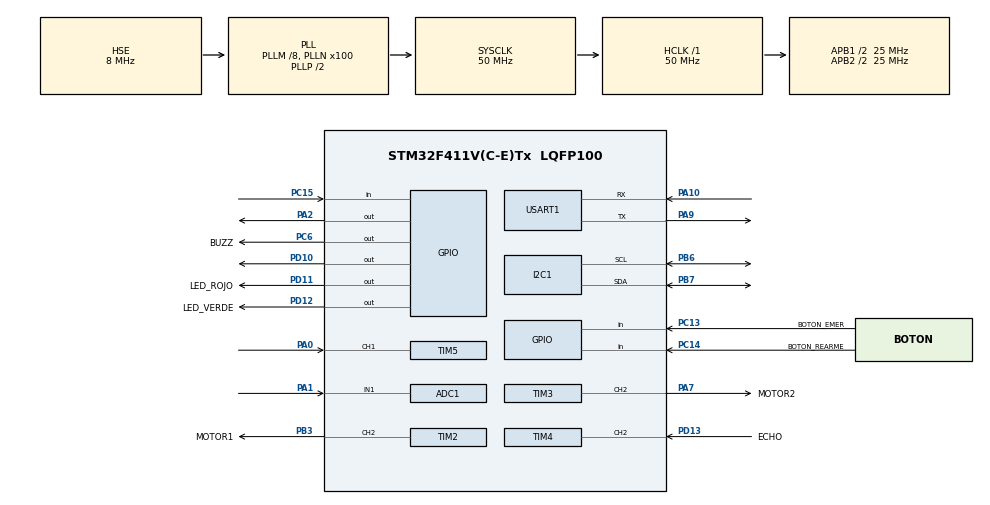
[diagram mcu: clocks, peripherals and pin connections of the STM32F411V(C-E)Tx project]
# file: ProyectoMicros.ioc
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ADC1.Channel-0\#ChannelRegularConversion=ADC_CHANNEL_1
ADC1.Channel-3\#ChannelRegularConversion=ADC_CHANNEL_TEMPSENSOR
ADC1.DiscontinuousConvMode=ENABLE
ADC1.InjNumberOfConversion=0
ADC1.NbrOfConversion=2
ADC1.NbrOfConversionFlag=1
ADC1.Rank-0\#ChannelRegularConversion=1
ADC1.Rank-3\#ChannelRegularConversion=2
ADC1.SamplingTime-0\#ChannelRegularConversion=ADC_SAMPLETIME_3CYCLES
ADC1.SamplingTime-3\#ChannelRegularConversion=ADC_SAMPLETIME_3CYCLES
ADC1.master=1
Mcu.Family=STM32F4
Mcu.Name=STM32F411V(C-E)Tx
Mcu.Package=LQFP100
Mcu.UserConstants=ADC1,$$_ADC1_IP_HANDLE_$$
NVIC.PriorityGroup=NVIC_PRIORITYGROUP_0
NVIC.TIM4_IRQn=true\:0\:0\:false\:false\:true\:true\:true\:true
NVIC.TIM5_IRQn=true\:0\:0\:false\:false\:true\:true\:true\:true
PA0-WKUP.Signal=S_TIM5_CH1
PA1.Signal=ADCx_IN1
PA10.Mode=Asynchronous
PA10.Signal=USART1_RX
PA13.Mode=Serial_Wire
PA13.Signal=SYS_JTMS-SWDIO
PA14.Mode=Serial_Wire
PA14.Signal=SYS_JTCK-SWCLK
PA2.Signal=GPIO_Output
PA7.GPIO_Label=MOTOR2
PA7.Signal=S_TIM3_CH2
PA9.Mode=Asynchronous
PA9.Signal=USART1_TX
PB3.GPIO_Label=MOTOR1
PB3.Signal=S_TIM2_CH2
PB6.Mode=I2C
PB6.Signal=I2C1_SCL
PB7.Mode=I2C
PB7.Signal=I2C1_SDA
PC13-ANTI_TAMP.GPIO_Label=BOTON_EMER
PC13-ANTI_TAMP.GPIO_PuPd=GPIO_PULLUP
PC13-ANTI_TAMP.Signal=GPIO_Input
PC14-OSC32_IN.GPIO_Label=BOTON_REARME
PC14-OSC32_IN.GPIO_PuPd=GPIO_PULLUP
PC14-OSC32_IN.Signal=GPIO_Input
PC15-OSC32_OUT.GPIO_PuPd=GPIO_PULLUP
PC15-OSC32_OUT.Signal=GPIO_Input
PC6.GPIO_Label=BUZZ
PC6.Signal=GPIO_Output
PD10.Signal=GPIO_Output
PD11.GPIO_Label=LED_ROJO
PD11.Signal=GPIO_Output
PD12.GPIO_Label=LED_VERDE
PD12.Signal=GPIO_Output
PD13.GPIO_Label=ECHO
PD13.Signal=S_TIM4_CH2
PH0\ -\ OSC_IN.Mode=HSE-External-Oscillator
PH0\ -\ OSC_IN.Signal=RCC_OSC_IN
PH1\ -\ OSC_OUT.Mode=HSE-External-Oscillator
PH1\ -\ OSC_OUT.Signal=RCC_OSC_OUT
ProjectManager.HeapSize=0x200
ProjectManager.StackSize=0x400
ProjectManager.TargetToolchain=STM32CubeIDE
RCC.48MHZClocksFreq_Value=12500000
RCC.AHBFreq_Value=50000000
RCC.APB1CLKDivider=RCC_HCLK_DIV2
RCC.APB1Freq_Value=25000000
RCC.APB1TimFreq_Value=50000000
RCC.APB2CLKDivider=RCC_HCLK_DIV2
RCC.APB2Freq_Value=25000000
RCC.APB2TimFreq_Value=50000000
RCC.CortexFreq_Value=50000000
RCC.HCLKFreq_Value=50000000
RCC.HSE_VALUE=8000000
RCC.HSI_VALUE=16000000
RCC.LSE_VALUE=32768
RCC.PLLI2SM=5
RCC.PLLI2SN=200
RCC.PLLM=8
RCC.PLLN=100
RCC.PLLQ=8
RCC.PLLSourceVirtual=RCC_PLLSOURCE_HSE
RCC.SYSCLKFreq_VALUE=50000000
RCC.SYSCLKSource=RCC_SYSCLKSOURCE_PLLCLK
RCC.VCOOutputFreq_Value=100000000
SH.ADCx_IN1.0=ADC1_IN1,IN1
SH.S_TIM2_CH2.0=TIM2_CH2,PWM Generation2 CH2
SH.S_TIM3_CH2.0=TIM3_CH2,PWM Generation2 CH2
SH.S_TIM4_CH2.0=TIM4_CH2,Input_Capture2_from_TI2
SH.S_TIM5_CH1.0=TIM5_CH1,Input_Capture1_from_TI1
TIM1.Prescaler=100-1
TIM2.Channel-PWM\ Generation2\ CH2=TIM_CHANNEL_2
TIM2.Period=10000-1
TIM2.Prescaler=100-1
TIM3.Channel-PWM\ Generation2\ CH2=TIM_CHANNEL_2
TIM3.Period=10000-1
TIM3.Prescaler=100-1
TIM4.Channel-Input_Capture2_from_TI2=TIM_CHANNEL_2
TIM4.ICFilter_CH2=4
TIM4.Prescaler=100-1
TIM5.Channel-Input_Capture1_from_TI1=TIM_CHANNEL_1
TIM5.ICFilter_CH1=4
TIM5.Period=65535
TIM5.Prescaler=100-1
USART1.VirtualMode=VM_ASYNC
VP_ADC1_TempSens_Input.Mode=IN-TempSens
VP_TIM1_VS_ClockSourceINT.Mode=Internal
VP_TIM2_VS_ClockSourceINT.Mode=Internal
VP_TIM3_VS_ClockSourceINT.Mode=Internal
VP_TIM4_VS_ClockSourceINT.Mode=Internal
VP_TIM5_VS_ClockSourceINT.Mode=Internal
board=STM32F411E-DISCO

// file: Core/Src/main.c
/* USER CODE BEGIN Header */
/**
  ******************************************************************************
  * @file           : main.c
  * @brief          : Main program body
  ******************************************************************************
  * @attention
  *
  * Copyright (c) 2025 STMicroelectronics.
  * All rights reserved.
  *
  * This software is licensed under terms that can be found in the LICENSE file
  * in the root directory of this software component.
  * If no LICENSE file comes with this software, it is provided AS-IS.
  *
  ******************************************************************************
  */
/* USER CODE END Header */
#include "main.h"

/* USER CODE BEGIN PTD */
typedef enum {
    WAITING_BUTTON,
	lavando,
    MOVING_MOTOR_2
} SystemState;
/* USER CODE END PTD */

/* USER CODE BEGIN PD */
// Definiciones de pines
#define BUTTON_PIN GPIO_PIN_15
#define BUTTON_PORT GPIOC

#define LED_RED_PIN GPIO_PIN_11
#define LED_GREEN_PIN GPIO_PIN_12
#define LED_PORT GPIOD

#define MOTOR1_PIN GPIO_PIN_3
#define MOTOR2_PIN GPIO_PIN_7
#define MOTOR1_PORT GPIOB
#define MOTOR2_PORT GPIOA

#define ECHO2_PIN GPIO_PIN_1
#define TRIG2_PIN GPIO_PIN_2
#define ECHO_PIN GPIO_PIN_13
#define TRIG_PIN GPIO_PIN_10
#define ULTRASONIC_PORT GPIOD
#define ULTRASONIC_PORT2 GPIOA

#define SERVO_MIN 500  // Pulso mínimo (0°) en microsegundos
#define SERVO_MAX 2500 // Pulso máximo (180°) en microsegundos
// Variables de estado
int buttonPressed = 0;
int presenceDetected = 0;
/* USER CODE END PD */

ADC_HandleTypeDef hadc1;

I2C_HandleTypeDef hi2c1;

TIM_HandleTypeDef htim1;
TIM_HandleTypeDef htim2;
TIM_HandleTypeDef htim3;
TIM_HandleTypeDef htim4;
TIM_HandleTypeDef htim5;

UART_HandleTypeDef huart1;

void SystemClock_Config(void);
static void MX_GPIO_Init(void);
static void MX_TIM2_Init(void);
static void MX_TIM3_Init(void);
static void MX_TIM4_Init(void);
static void MX_TIM5_Init(void);
static void MX_TIM1_Init(void);
static void MX_I2C1_Init(void);
static void MX_ADC1_Init(void);
static void MX_USART1_UART_Init(void);
/* USER CODE BEGIN PFP */
void delayMicroseconds(uint16_t microseconds) {
    __HAL_TIM_SET_COUNTER(&htim4, 0); // Reinicia el contador
    while (__HAL_TIM_GET_COUNTER(&htim4) < microseconds); // Espera
}

float readUltrasonicDistance1(void) {
    // Emitir pulso TRIG
	    uint32_t startTime = 0, endTime = 0;
	    HAL_TIM_Base_Start(&htim4);
	    // Genera el pulso TRIG (10µs)
	    HAL_GPIO_WritePin(ULTRASONIC_PORT, TRIG_PIN, GPIO_PIN_SET);
	    delayMicroseconds(10);
	    HAL_GPIO_WritePin(ULTRASONIC_PORT, TRIG_PIN, GPIO_PIN_RESET);

	    // Espera el inicio del pulso ECHO
	    while (HAL_GPIO_ReadPin(ULTRASONIC_PORT, ECHO_PIN) == GPIO_PIN_RESET);

	    startTime = __HAL_TIM_GET_COUNTER(&htim4); // Marca el tiempo inicial

	    // Espera el final del pulso ECHO
	    while (HAL_GPIO_ReadPin(ULTRASONIC_PORT, ECHO_PIN) == GPIO_PIN_SET);

	    endTime = __HAL_TIM_GET_COUNTER(&htim4); // Marca el tiempo final

	    // Calcula la duración del pulso (en microsegundos)
	    uint32_t duration = endTime - startTime;

	    // Calcula la distancia en cm (velocidad del sonido: 34300 cm/s)
	    return (duration * 0.0343) / 2;
}
float readUltrasonicDistance2(void) {
    // Emitir pulso TRIG
	    uint32_t startTime = 0, endTime = 0;
	    HAL_TIM_Base_Start(&htim5);
	    // Genera el pulso TRIG (10µs)
	    HAL_GPIO_WritePin(ULTRASONIC_PORT2, TRIG2_PIN, GPIO_PIN_SET);
	    delayMicroseconds(10);
	    HAL_GPIO_WritePin(ULTRASONIC_PORT2, TRIG2_PIN, GPIO_PIN_RESET);

	    // Espera el inicio del pulso ECHO
	    while (HAL_GPIO_ReadPin(ULTRASONIC_PORT2, ECHO2_PIN) == GPIO_PIN_RESET);

	    startTime = __HAL_TIM_GET_COUNTER(&htim5); // Marca el tiempo inicial

	    // Espera el final del pulso ECHO
	    while (HAL_GPIO_ReadPin(ULTRASONIC_PORT2, ECHO2_PIN) == GPIO_PIN_SET);

	    endTime = __HAL_TIM_GET_COUNTER(&htim5); // Marca el tiempo final

	    // Calcula la duración del pulso (en microsegundos)
	    uint32_t duration = endTime - startTime;

	    // Calcula la distancia en cm (velocidad del sonido: 34300 cm/s)
	    return (duration * 0.0343) / 2;
}

void moveMotor1(void) {

	 // __HAL_TIM_SET_COMPARE(&htim2, TIM_CHANNEL_2, SERVO_MIN);
	  __HAL_TIM_SET_COMPARE(&htim2, TIM_CHANNEL_2, 500);
	    HAL_Delay(5000);  // Tiempo para subir la barrera
	   __HAL_TIM_SET_COMPARE(&htim2, TIM_CHANNEL_2, 2000);

}

void moveMotor2(void) {
	   __HAL_TIM_SET_COMPARE(&htim3, TIM_CHANNEL_2, 500);
	     HAL_Delay(5000);  // Tiempo para subir la barrera
	  __HAL_TIM_SET_COMPARE(&htim3, TIM_CHANNEL_2, 2000);
}

void toggleLEDs(int presenceDetected) {
    if (presenceDetected) {
        HAL_GPIO_WritePin(LED_PORT, LED_RED_PIN, GPIO_PIN_SET); // Apagar LED rojo
        HAL_GPIO_WritePin(LED_PORT, LED_GREEN_PIN, GPIO_PIN_RESET); // Encender LED verde
    } else {
        HAL_GPIO_WritePin(LED_PORT, LED_RED_PIN, GPIO_PIN_RESET);   // Encender LED rojo
        HAL_GPIO_WritePin(LED_PORT, LED_GREEN_PIN, GPIO_PIN_SET); // Apagar LED verde
    }
}

void process() {
    float distance;
    float distance2;

    // Leer sensores solo una vez por iteración
    distance = readUltrasonicDistance1();
    //pirState = HAL_GPIO_ReadPin(GPIOA, GPIO_PIN_5); // Leer PIR

    // Manejo de estados
    switch (currentState) {
        case WAITING_BUTTON:
            // Encender LED rojo inicialmente
            toggleLEDs(1);

            // Verificar botón y distancia del ultrasonido
            if (distance > 10.0 && HAL_GPIO_ReadPin(GPIOC, GPIO_PIN_15) == GPIO_PIN_RESET) {
                HAL_TIM_PWM_Start(&htim2, TIM_CHANNEL_2); // Iniciar motor 1
                toggleLEDs(0);  // Apagar LED rojo
                moveMotor1();   // Mover motor 1
                currentState = lavando; // Cambiar al estado de lavado
            }
            break;

        case lavando:
            // Esperar simulación de lavado
            HAL_Delay(7000); // Simula tiempo de lavado
            toggleLEDs(1);  // Volver a encender LED rojo
            currentState = MOVING_MOTOR_2; // Cambiar al estado de mover motor 2
            break;

        case MOVING_MOTOR_2:
        	distance2 = readUltrasonicDistance2();
        	if (distance2 <7.0){
           //if (HAL_GPIO_ReadPin(GPIOA, GPIO_PIN_5) == GPIO_PIN_SET) { // Si el PIR detecta movimiento
                HAL_TIM_PWM_Start(&htim3, TIM_CHANNEL_2); // Iniciar motor 2
                moveMotor2(); // Mover motor 2
                currentState = WAITING_BUTTON; // Volver al estado inicial
            }
            break;

        default:
            currentState = WAITING_BUTTON; // Por seguridad, reiniciar estado
            break;
    }
}
/*
void process() {
    float distance = readUltrasonicDistance();
    toggleLEDs(1);
switch(currentState){

    case WAITING_BUTTON:
     toggleLEDs(1);
    if (distance > 10.0 ){
    	if(HAL_GPIO_ReadPin(GPIOC, GPIO_PIN_15) == GPIO_PIN_RESET){
    	 HAL_TIM_PWM_Start(&htim2, TIM_CHANNEL_2);
    	 toggleLEDs(0);
    	 moveMotor1();
    	 currentState = lavando;
    	}
    }

    else{
    	toggleLEDs(0);

    }
break;

    case lavando:
    	HAL_Delay(7000);
    	 currentState = MOVING_MOTOR_2;
    	break;

    case  MOVING_MOTOR_2:
    	if (HAL_GPIO_ReadPin(GPIOA, GPIO_PIN_5) == GPIO_PIN_SET){
    		    	HAL_TIM_PWM_Start(&htim3, TIM_CHANNEL_2);
    		        moveMotor2();  // Abrir el túnel

    		        currentState = WAITING_BUTTON;

    		   }

    	break;
}
}
*/

int main(void) {
    HAL_Init();
    SystemClock_Config();
    MX_GPIO_Init();

    ////////////
      MX_TIM2_Init();
      MX_TIM3_Init();
      MX_TIM4_Init();

    while (1) {
        process();

        HAL_Delay(100);  // Retraso para evitar que el ciclo sea demasiado rápido
    }
}

/* USER CODE END PFP */

int main(void)
{

  /* MCU Configuration--------------------------------------------------------*/

  /* Reset of all peripherals, Initializes the Flash interface and the Systick. */
  HAL_Init();

  /* Configure the system clock */
  SystemClock_Config();

  /* Initialize all configured peripherals */
  MX_GPIO_Init();
  MX_TIM2_Init();
  MX_TIM3_Init();
  MX_TIM4_Init();
  MX_TIM5_Init();
  MX_TIM1_Init();
  MX_I2C1_Init();
  MX_ADC1_Init();
  MX_USART1_UART_Init();

  /* Infinite loop */
  while (1)
  {

  }
}

void SystemClock_Config(void)
{
  RCC_OscInitTypeDef RCC_OscInitStruct = {0};
  RCC_ClkInitTypeDef RCC_ClkInitStruct = {0};

  /** Configure the main internal regulator output voltage
  */
  __HAL_RCC_PWR_CLK_ENABLE();
  __HAL_PWR_VOLTAGESCALING_CONFIG(PWR_REGULATOR_VOLTAGE_SCALE1);

  /** Initializes the RCC Oscillators according to the specified parameters
  * in the RCC_OscInitTypeDef structure.
  */
  RCC_OscInitStruct.OscillatorType = RCC_OSCILLATORTYPE_HSE;
  RCC_OscInitStruct.HSEState = RCC_HSE_ON;
  RCC_OscInitStruct.PLL.PLLState = RCC_PLL_ON;
  RCC_OscInitStruct.PLL.PLLSource = RCC_PLLSOURCE_HSE;
  RCC_OscInitStruct.PLL.PLLM = 8;
  RCC_OscInitStruct.PLL.PLLN = 100;
  RCC_OscInitStruct.PLL.PLLP = RCC_PLLP_DIV2;
  RCC_OscInitStruct.PLL.PLLQ = 8;
  if (HAL_RCC_OscConfig(&RCC_OscInitStruct) != HAL_OK)
  {
    Error_Handler();
  }

  /** Initializes the CPU, AHB and APB buses clocks
  */
  RCC_ClkInitStruct.ClockType = RCC_CLOCKTYPE_HCLK|RCC_CLOCKTYPE_SYSCLK
                              |RCC_CLOCKTYPE_PCLK1|RCC_CLOCKTYPE_PCLK2;
  RCC_ClkInitStruct.SYSCLKSource = RCC_SYSCLKSOURCE_PLLCLK;
  RCC_ClkInitStruct.AHBCLKDivider = RCC_SYSCLK_DIV1;
  RCC_ClkInitStruct.APB1CLKDivider = RCC_HCLK_DIV2;
  RCC_ClkInitStruct.APB2CLKDivider = RCC_HCLK_DIV2;

  if (HAL_RCC_ClockConfig(&RCC_ClkInitStruct, FLASH_LATENCY_1) != HAL_OK)
  {
    Error_Handler();
  }
}

static void MX_ADC1_Init(void)
{

  ADC_ChannelConfTypeDef sConfig = {0};

  /** Configure the global features of the ADC (Clock, Resolution, Data Alignment and number of conversion)
  */
  hadc1.Instance = ADC1;
  hadc1.Init.ClockPrescaler = ADC_CLOCK_SYNC_PCLK_DIV2;
  hadc1.Init.Resolution = ADC_RESOLUTION_12B;
  hadc1.Init.ScanConvMode = ENABLE;
  hadc1.Init.ContinuousConvMode = DISABLE;
  hadc1.Init.DiscontinuousConvMode = ENABLE;
  hadc1.Init.NbrOfDiscConversion = 1;
  hadc1.Init.ExternalTrigConvEdge = ADC_EXTERNALTRIGCONVEDGE_NONE;
  hadc1.Init.ExternalTrigConv = ADC_SOFTWARE_START;
  hadc1.Init.DataAlign = ADC_DATAALIGN_RIGHT;
  hadc1.Init.NbrOfConversion = 2;
  hadc1.Init.DMAContinuousRequests = DISABLE;
  hadc1.Init.EOCSelection = ADC_EOC_SINGLE_CONV;
  if (HAL_ADC_Init(&hadc1) != HAL_OK)
  {
    Error_Handler();
  }

  /** Configure for the selected ADC regular channel its corresponding rank in the sequencer and its sample time.
  */
  sConfig.Channel = ADC_CHANNEL_1;
  sConfig.Rank = 1;
  sConfig.SamplingTime = ADC_SAMPLETIME_3CYCLES;
  if (HAL_ADC_ConfigChannel(&hadc1, &sConfig) != HAL_OK)
  {
    Error_Handler();
  }

  /** Configure for the selected ADC regular channel its corresponding rank in the sequencer and its sample time.
  */
  sConfig.Channel = ADC_CHANNEL_TEMPSENSOR;
  sConfig.Rank = 2;
  if (HAL_ADC_ConfigChannel(&hadc1, &sConfig) != HAL_OK)
  {
    Error_Handler();
  }

}

static void MX_I2C1_Init(void)
{

  hi2c1.Instance = I2C1;
  hi2c1.Init.ClockSpeed = 100000;
  hi2c1.Init.DutyCycle = I2C_DUTYCYCLE_2;
  hi2c1.Init.OwnAddress1 = 0;
  hi2c1.Init.AddressingMode = I2C_ADDRESSINGMODE_7BIT;
  hi2c1.Init.DualAddressMode = I2C_DUALADDRESS_DISABLE;
  hi2c1.Init.OwnAddress2 = 0;
  hi2c1.Init.GeneralCallMode = I2C_GENERALCALL_DISABLE;
  hi2c1.Init.NoStretchMode = I2C_NOSTRETCH_DISABLE;
  if (HAL_I2C_Init(&hi2c1) != HAL_OK)
  {
    Error_Handler();
  }

}

static void MX_TIM1_Init(void)
{

  TIM_ClockConfigTypeDef sClockSourceConfig = {0};
  TIM_MasterConfigTypeDef sMasterConfig = {0};

  htim1.Instance = TIM1;
  htim1.Init.Prescaler = 100-1;
  htim1.Init.CounterMode = TIM_COUNTERMODE_UP;
  htim1.Init.Period = 65535;
  htim1.Init.ClockDivision = TIM_CLOCKDIVISION_DIV1;
  htim1.Init.RepetitionCounter = 0;
  htim1.Init.AutoReloadPreload = TIM_AUTORELOAD_PRELOAD_DISABLE;
  if (HAL_TIM_Base_Init(&htim1) != HAL_OK)
  {
    Error_Handler();
  }
  sClockSourceConfig.ClockSource = TIM_CLOCKSOURCE_INTERNAL;
  if (HAL_TIM_ConfigClockSource(&htim1, &sClockSourceConfig) != HAL_OK)
  {
    Error_Handler();
  }
  sMasterConfig.MasterOutputTrigger = TIM_TRGO_RESET;
  sMasterConfig.MasterSlaveMode = TIM_MASTERSLAVEMODE_DISABLE;
  if (HAL_TIMEx_MasterConfigSynchronization(&htim1, &sMasterConfig) != HAL_OK)
  {
    Error_Handler();
  }

}

static void MX_TIM2_Init(void)
{

  TIM_ClockConfigTypeDef sClockSourceConfig = {0};
  TIM_MasterConfigTypeDef sMasterConfig = {0};
  TIM_OC_InitTypeDef sConfigOC = {0};

  htim2.Instance = TIM2;
  htim2.Init.Prescaler = 100-1;
  htim2.Init.CounterMode = TIM_COUNTERMODE_UP;
  htim2.Init.Period = 10000-1;
  htim2.Init.ClockDivision = TIM_CLOCKDIVISION_DIV1;
  htim2.Init.AutoReloadPreload = TIM_AUTORELOAD_PRELOAD_DISABLE;
  if (HAL_TIM_Base_Init(&htim2) != HAL_OK)
  {
    Error_Handler();
  }
  sClockSourceConfig.ClockSource = TIM_CLOCKSOURCE_INTERNAL;
  if (HAL_TIM_ConfigClockSource(&htim2, &sClockSourceConfig) != HAL_OK)
  {
    Error_Handler();
  }
  if (HAL_TIM_PWM_Init(&htim2) != HAL_OK)
  {
    Error_Handler();
  }
  sMasterConfig.MasterOutputTrigger = TIM_TRGO_RESET;
  sMasterConfig.MasterSlaveMode = TIM_MASTERSLAVEMODE_DISABLE;
  if (HAL_TIMEx_MasterConfigSynchronization(&htim2, &sMasterConfig) != HAL_OK)
  {
    Error_Handler();
  }
  sConfigOC.OCMode = TIM_OCMODE_PWM1;
  sConfigOC.Pulse = 0;
  sConfigOC.OCPolarity = TIM_OCPOLARITY_HIGH;
  sConfigOC.OCFastMode = TIM_OCFAST_DISABLE;
  if (HAL_TIM_PWM_ConfigChannel(&htim2, &sConfigOC, TIM_CHANNEL_2) != HAL_OK)
  {
    Error_Handler();
  }
  HAL_TIM_MspPostInit(&htim2);

}

static void MX_TIM3_Init(void)
{

  TIM_ClockConfigTypeDef sClockSourceConfig = {0};
  TIM_MasterConfigTypeDef sMasterConfig = {0};
  TIM_OC_InitTypeDef sConfigOC = {0};

  htim3.Instance = TIM3;
  htim3.Init.Prescaler = 100-1;
  htim3.Init.CounterMode = TIM_COUNTERMODE_UP;
  htim3.Init.Period = 10000-1;
  htim3.Init.ClockDivision = TIM_CLOCKDIVISION_DIV1;
  htim3.Init.AutoReloadPreload = TIM_AUTORELOAD_PRELOAD_DISABLE;
  if (HAL_TIM_Base_Init(&htim3) != HAL_OK)
  {
    Error_Handler();
  }
  sClockSourceConfig.ClockSource = TIM_CLOCKSOURCE_INTERNAL;
  if (HAL_TIM_ConfigClockSource(&htim3, &sClockSourceConfig) != HAL_OK)
  {
    Error_Handler();
  }
  if (HAL_TIM_PWM_Init(&htim3) != HAL_OK)
  {
    Error_Handler();
  }
  sMasterConfig.MasterOutputTrigger = TIM_TRGO_RESET;
  sMasterConfig.MasterSlaveMode = TIM_MASTERSLAVEMODE_DISABLE;
  if (HAL_TIMEx_MasterConfigSynchronization(&htim3, &sMasterConfig) != HAL_OK)
  {
    Error_Handler();
  }
  sConfigOC.OCMode = TIM_OCMODE_PWM1;
  sConfigOC.Pulse = 0;
  sConfigOC.OCPolarity = TIM_OCPOLARITY_HIGH;
  sConfigOC.OCFastMode = TIM_OCFAST_DISABLE;
  if (HAL_TIM_PWM_ConfigChannel(&htim3, &sConfigOC, TIM_CHANNEL_2) != HAL_OK)
  {
    Error_Handler();
  }
  HAL_TIM_MspPostInit(&htim3);

}

static void MX_TIM4_Init(void)
{

  TIM_ClockConfigTypeDef sClockSourceConfig = {0};
  TIM_MasterConfigTypeDef sMasterConfig = {0};
  TIM_IC_InitTypeDef sConfigIC = {0};

  htim4.Instance = TIM4;
  htim4.Init.Prescaler = 100-1;
  htim4.Init.CounterMode = TIM_COUNTERMODE_UP;
  htim4.Init.Period = 65535;
  htim4.Init.ClockDivision = TIM_CLOCKDIVISION_DIV1;
  htim4.Init.AutoReloadPreload = TIM_AUTORELOAD_PRELOAD_DISABLE;
  if (HAL_TIM_Base_Init(&htim4) != HAL_OK)
  {
    Error_Handler();
  }
  sClockSourceConfig.ClockSource = TIM_CLOCKSOURCE_INTERNAL;
  if (HAL_TIM_ConfigClockSource(&htim4, &sClockSourceConfig) != HAL_OK)
  {
    Error_Handler();
  }
  if (HAL_TIM_IC_Init(&htim4) != HAL_OK)
  {
    Error_Handler();
  }
  sMasterConfig.MasterOutputTrigger = TIM_TRGO_RESET;
  sMasterConfig.MasterSlaveMode = TIM_MASTERSLAVEMODE_DISABLE;
  if (HAL_TIMEx_MasterConfigSynchronization(&htim4, &sMasterConfig) != HAL_OK)
  {
    Error_Handler();
  }
  sConfigIC.ICPolarity = TIM_INPUTCHANNELPOLARITY_RISING;
  sConfigIC.ICSelection = TIM_ICSELECTION_DIRECTTI;
  sConfigIC.ICPrescaler = TIM_ICPSC_DIV1;
  sConfigIC.ICFilter = 4;
  if (HAL_TIM_IC_ConfigChannel(&htim4, &sConfigIC, TIM_CHANNEL_2) != HAL_OK)
  {
    Error_Handler();
  }

}

static void MX_TIM5_Init(void)
{

  TIM_ClockConfigTypeDef sClockSourceConfig = {0};
  TIM_MasterConfigTypeDef sMasterConfig = {0};
  TIM_IC_InitTypeDef sConfigIC = {0};

  htim5.Instance = TIM5;
  htim5.Init.Prescaler = 100-1;
  htim5.Init.CounterMode = TIM_COUNTERMODE_UP;
  htim5.Init.Period = 65535;
  htim5.Init.ClockDivision = TIM_CLOCKDIVISION_DIV1;
  htim5.Init.AutoReloadPreload = TIM_AUTORELOAD_PRELOAD_DISABLE;
  if (HAL_TIM_Base_Init(&htim5) != HAL_OK)
  {
    Error_Handler();
  }
  sClockSourceConfig.ClockSource = TIM_CLOCKSOURCE_INTERNAL;
  if (HAL_TIM_ConfigClockSource(&htim5, &sClockSourceConfig) != HAL_OK)
  {
    Error_Handler();
  }
  if (HAL_TIM_IC_Init(&htim5) != HAL_OK)
  {
    Error_Handler();
  }
  sMasterConfig.MasterOutputTrigger = TIM_TRGO_RESET;
  sMasterConfig.MasterSlaveMode = TIM_MASTERSLAVEMODE_DISABLE;
  if (HAL_TIMEx_MasterConfigSynchronization(&htim5, &sMasterConfig) != HAL_OK)
  {
    Error_Handler();
  }
  sConfigIC.ICPolarity = TIM_INPUTCHANNELPOLARITY_RISING;
  sConfigIC.ICSelection = TIM_ICSELECTION_DIRECTTI;
  sConfigIC.ICPrescaler = TIM_ICPSC_DIV1;
  sConfigIC.ICFilter = 4;
  if (HAL_TIM_IC_ConfigChannel(&htim5, &sConfigIC, TIM_CHANNEL_1) != HAL_OK)
  {
    Error_Handler();
  }

}

static void MX_USART1_UART_Init(void)
{

  huart1.Instance = USART1;
  huart1.Init.BaudRate = 115200;
  huart1.Init.WordLength = UART_WORDLENGTH_8B;
  huart1.Init.StopBits = UART_STOPBITS_1;
  huart1.Init.Parity = UART_PARITY_NONE;
  huart1.Init.Mode = UART_MODE_TX_RX;
  huart1.Init.HwFlowCtl = UART_HWCONTROL_NONE;
  huart1.Init.OverSampling = UART_OVERSAMPLING_16;
  if (HAL_UART_Init(&huart1) != HAL_OK)
  {
    Error_Handler();
  }

}

static void MX_GPIO_Init(void)
{
  GPIO_InitTypeDef GPIO_InitStruct = {0};

  /* GPIO Ports Clock Enable */
  __HAL_RCC_GPIOC_CLK_ENABLE();
  __HAL_RCC_GPIOH_CLK_ENABLE();
  __HAL_RCC_GPIOA_CLK_ENABLE();
  __HAL_RCC_GPIOD_CLK_ENABLE();
  __HAL_RCC_GPIOB_CLK_ENABLE();

  /*Configure GPIO pin Output Level */
  HAL_GPIO_WritePin(GPIOA, GPIO_PIN_2, GPIO_PIN_RESET);

  /*Configure GPIO pin Output Level */
  HAL_GPIO_WritePin(GPIOD, GPIO_PIN_10|LED_ROJO_Pin|LED_VERDE_Pin, GPIO_PIN_RESET);

  /*Configure GPIO pin Output Level */
  HAL_GPIO_WritePin(BUZZ_GPIO_Port, BUZZ_Pin, GPIO_PIN_RESET);

  /*Configure GPIO pins : BOTON_EMER_Pin BOTON_REARME_Pin PC15 */
  GPIO_InitStruct.Pin = BOTON_EMER_Pin|BOTON_REARME_Pin|GPIO_PIN_15;
  GPIO_InitStruct.Mode = GPIO_MODE_INPUT;
  GPIO_InitStruct.Pull = GPIO_PULLUP;
  HAL_GPIO_Init(GPIOC, &GPIO_InitStruct);

  /*Configure GPIO pin : PA2 */
  GPIO_InitStruct.Pin = GPIO_PIN_2;
  GPIO_InitStruct.Mode = GPIO_MODE_OUTPUT_PP;
  GPIO_InitStruct.Pull = GPIO_NOPULL;
  GPIO_InitStruct.Speed = GPIO_SPEED_FREQ_LOW;
  HAL_GPIO_Init(GPIOA, &GPIO_InitStruct);

  /*Configure GPIO pins : PD10 LED_ROJO_Pin LED_VERDE_Pin */
  GPIO_InitStruct.Pin = GPIO_PIN_10|LED_ROJO_Pin|LED_VERDE_Pin;
  GPIO_InitStruct.Mode = GPIO_MODE_OUTPUT_PP;
  GPIO_InitStruct.Pull = GPIO_NOPULL;
  GPIO_InitStruct.Speed = GPIO_SPEED_FREQ_LOW;
  HAL_GPIO_Init(GPIOD, &GPIO_InitStruct);

  /*Configure GPIO pin : BUZZ_Pin */
  GPIO_InitStruct.Pin = BUZZ_Pin;
  GPIO_InitStruct.Mode = GPIO_MODE_OUTPUT_PP;
  GPIO_InitStruct.Pull = GPIO_NOPULL;
  GPIO_InitStruct.Speed = GPIO_SPEED_FREQ_LOW;
  HAL_GPIO_Init(BUZZ_GPIO_Port, &GPIO_InitStruct);

}

void Error_Handler(void)
{
  __disable_irq();
  while (1)
  {
  }
}
